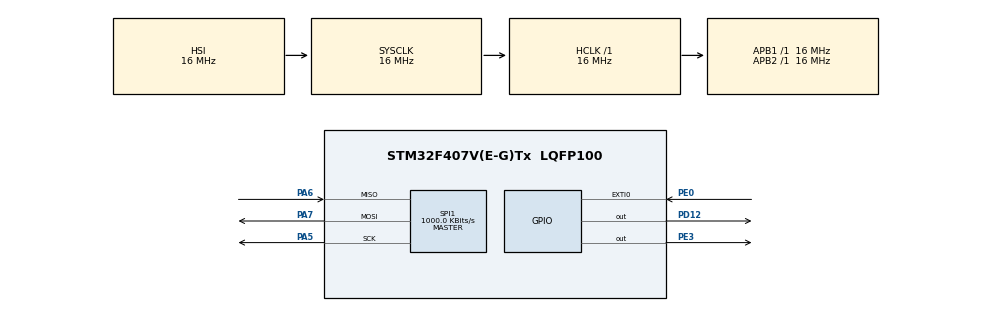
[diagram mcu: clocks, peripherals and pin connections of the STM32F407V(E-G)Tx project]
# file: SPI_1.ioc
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Mcu.Family=STM32F4
Mcu.Name=STM32F407V(E-G)Tx
Mcu.Package=LQFP100
NVIC.PriorityGroup=NVIC_PRIORITYGROUP_0
NVIC.SPI1_IRQn=true\:0\:0\:false\:false\:true\:true\:true\:true
PA5.Mode=Full_Duplex_Master
PA5.Signal=SPI1_SCK
PA6.Mode=Full_Duplex_Master
PA6.Signal=SPI1_MISO
PA7.Mode=Full_Duplex_Master
PA7.Signal=SPI1_MOSI
PD12.Signal=GPIO_Output
PE0.Signal=GPXTI0
PE3.Signal=GPIO_Output
ProjectManager.HeapSize=0x200
ProjectManager.StackSize=0x400
ProjectManager.TargetToolchain=MDK-ARM V5.32
RCC.48MHZClocksFreq_Value=14285714.285714285
RCC.AHBFreq_Value=16000000
RCC.APB1Freq_Value=16000000
RCC.APB1TimFreq_Value=16000000
RCC.APB2Freq_Value=16000000
RCC.APB2TimFreq_Value=16000000
RCC.CortexFreq_Value=16000000
RCC.HCLKFreq_Value=16000000
RCC.HSE_VALUE=8000000
RCC.HSI_VALUE=16000000
RCC.PLLM=8
RCC.PLLN=50
RCC.PLLP=RCC_PLLP_DIV4
RCC.PLLQ=7
RCC.SYSCLKFreq_VALUE=16000000
RCC.VCOOutputFreq_Value=100000000
SPI1.BaudRatePrescaler=SPI_BAUDRATEPRESCALER_16
SPI1.CalculateBaudRate=1000.0 KBits/s
SPI1.Direction=SPI_DIRECTION_2LINES
SPI1.Mode=SPI_MODE_MASTER
SPI1.VirtualType=VM_MASTER
board=STM32F407G-DISC1

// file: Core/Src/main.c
/* USER CODE BEGIN Header */
/**
  ******************************************************************************
  * @file           : main.c
  * @brief          : Main program body
  ******************************************************************************
  * @attention
  *
  * Copyright (c) 2024 STMicroelectronics.
  * All rights reserved.
  *
  * This software is licensed under terms that can be found in the LICENSE file
  * in the root directory of this software component.
  * If no LICENSE file comes with this software, it is provided AS-IS.
  *
  ******************************************************************************
  */
/* USER CODE END Header */
#include "main.h"

SPI_HandleTypeDef hspi1;

void SystemClock_Config(void);
static void MX_GPIO_Init(void);
static void MX_SPI1_Init(void);

/* USER CODE BEGIN 0 */
uint8_t spiTxBuf[2], spiRxBuf[2];
/* USER CODE END 0 */

int main(void)
{

  /* MCU Configuration--------------------------------------------------------*/

  /* Reset of all peripherals, Initializes the Flash interface and the Systick. */
  HAL_Init();

  /* Configure the system clock */
  SystemClock_Config();

  /* Initialize all configured peripherals */
  MX_GPIO_Init();
  MX_SPI1_Init();
  /* USER CODE BEGIN 2 */
	HAL_GPIO_WritePin(GPIOE,GPIO_PIN_3,GPIO_PIN_RESET);
	spiTxBuf[0] = 0x20;
	spiTxBuf[1] = 0x31;
	HAL_SPI_Transmit(&hspi1, spiTxBuf, 2, 50);
	HAL_GPIO_WritePin(GPIOE,GPIO_PIN_3,GPIO_PIN_SET);

	HAL_GPIO_WritePin(GPIOE,GPIO_PIN_3,GPIO_PIN_RESET);
	spiTxBuf[0] = 0x20|0x80;
	HAL_SPI_Transmit(&hspi1, spiTxBuf, 1, 50);
	HAL_SPI_Receive(&hspi1,spiRxBuf, 1, 50);
	HAL_GPIO_WritePin(GPIOE,GPIO_PIN_3,GPIO_PIN_SET);

	HAL_GPIO_WritePin(GPIOE,GPIO_PIN_3,GPIO_PIN_RESET);
	spiTxBuf[0] = 0x23;
	spiTxBuf[1] = 0xC8;
	HAL_SPI_Transmit(&hspi1, spiTxBuf, 2, 50);
	HAL_GPIO_WritePin(GPIOE,GPIO_PIN_3,GPIO_PIN_SET);

  /* USER CODE END 2 */

  /* Infinite loop */
  while (1)
  {

  }
}

void SystemClock_Config(void)
{
  RCC_OscInitTypeDef RCC_OscInitStruct = {0};
  RCC_ClkInitTypeDef RCC_ClkInitStruct = {0};

  /** Configure the main internal regulator output voltage
  */
  __HAL_RCC_PWR_CLK_ENABLE();
  __HAL_PWR_VOLTAGESCALING_CONFIG(PWR_REGULATOR_VOLTAGE_SCALE1);

  /** Initializes the RCC Oscillators according to the specified parameters
  * in the RCC_OscInitTypeDef structure.
  */
  RCC_OscInitStruct.OscillatorType = RCC_OSCILLATORTYPE_HSI;
  RCC_OscInitStruct.HSIState = RCC_HSI_ON;
  RCC_OscInitStruct.HSICalibrationValue = RCC_HSICALIBRATION_DEFAULT;
  RCC_OscInitStruct.PLL.PLLState = RCC_PLL_NONE;
  if (HAL_RCC_OscConfig(&RCC_OscInitStruct) != HAL_OK)
  {
    Error_Handler();
  }

  /** Initializes the CPU, AHB and APB buses clocks
  */
  RCC_ClkInitStruct.ClockType = RCC_CLOCKTYPE_HCLK|RCC_CLOCKTYPE_SYSCLK
                              |RCC_CLOCKTYPE_PCLK1|RCC_CLOCKTYPE_PCLK2;
  RCC_ClkInitStruct.SYSCLKSource = RCC_SYSCLKSOURCE_HSI;
  RCC_ClkInitStruct.AHBCLKDivider = RCC_SYSCLK_DIV1;
  RCC_ClkInitStruct.APB1CLKDivider = RCC_HCLK_DIV1;
  RCC_ClkInitStruct.APB2CLKDivider = RCC_HCLK_DIV1;

  if (HAL_RCC_ClockConfig(&RCC_ClkInitStruct, FLASH_LATENCY_0) != HAL_OK)
  {
    Error_Handler();
  }
}

static void MX_SPI1_Init(void)
{

  /* SPI1 parameter configuration*/
  hspi1.Instance = SPI1;
  hspi1.Init.Mode = SPI_MODE_MASTER;
  hspi1.Init.Direction = SPI_DIRECTION_2LINES;
  hspi1.Init.DataSize = SPI_DATASIZE_8BIT;
  hspi1.Init.CLKPolarity = SPI_POLARITY_LOW;
  hspi1.Init.CLKPhase = SPI_PHASE_1EDGE;
  hspi1.Init.NSS = SPI_NSS_SOFT;
  hspi1.Init.BaudRatePrescaler = SPI_BAUDRATEPRESCALER_16;
  hspi1.Init.FirstBit = SPI_FIRSTBIT_MSB;
  hspi1.Init.TIMode = SPI_TIMODE_DISABLE;
  hspi1.Init.CRCCalculation = SPI_CRCCALCULATION_DISABLE;
  hspi1.Init.CRCPolynomial = 10;
  if (HAL_SPI_Init(&hspi1) != HAL_OK)
  {
    Error_Handler();
  }

}

static void MX_GPIO_Init(void)
{
  GPIO_InitTypeDef GPIO_InitStruct = {0};

  /* GPIO Ports Clock Enable */
  __HAL_RCC_GPIOE_CLK_ENABLE();
  __HAL_RCC_GPIOA_CLK_ENABLE();
  __HAL_RCC_GPIOD_CLK_ENABLE();

  /*Configure GPIO pin Output Level */
  HAL_GPIO_WritePin(GPIOE, GPIO_PIN_3, GPIO_PIN_RESET);

  /*Configure GPIO pin Output Level */
  HAL_GPIO_WritePin(GPIOD, GPIO_PIN_12, GPIO_PIN_RESET);

  /*Configure GPIO pin : PE3 */
  GPIO_InitStruct.Pin = GPIO_PIN_3;
  GPIO_InitStruct.Mode = GPIO_MODE_OUTPUT_PP;
  GPIO_InitStruct.Pull = GPIO_NOPULL;
  GPIO_InitStruct.Speed = GPIO_SPEED_FREQ_LOW;
  HAL_GPIO_Init(GPIOE, &GPIO_InitStruct);

  /*Configure GPIO pin : PD12 */
  GPIO_InitStruct.Pin = GPIO_PIN_12;
  GPIO_InitStruct.Mode = GPIO_MODE_OUTPUT_PP;
  GPIO_InitStruct.Pull = GPIO_NOPULL;
  GPIO_InitStruct.Speed = GPIO_SPEED_FREQ_LOW;
  HAL_GPIO_Init(GPIOD, &GPIO_InitStruct);

  /*Configure GPIO pin : PE0 */
  GPIO_InitStruct.Pin = GPIO_PIN_0;
  GPIO_InitStruct.Mode = GPIO_MODE_IT_RISING;
  GPIO_InitStruct.Pull = GPIO_NOPULL;
  HAL_GPIO_Init(GPIOE, &GPIO_InitStruct);

}

/* USER CODE BEGIN 4 */

void HAL_GPIO_EXTI_Callback(uint16_t GPIO_Pin)
{
  /* Prevent unused argument(s) compilation warning */
  UNUSED(GPIO_Pin);
  /* NOTE: This function Should not be modified, when the callback is needed,
           the HAL_GPIO_EXTI_Callback could be implemented in the user file
   */

	HAL_GPIO_WritePin(GPIOE,GPIO_PIN_3,GPIO_PIN_RESET);
	spiTxBuf[0] = 0x29|0x80;
	HAL_SPI_Transmit(&hspi1, spiTxBuf, 1, 50);
	HAL_SPI_Receive(&hspi1,spiRxBuf, 1, 50);
	HAL_GPIO_WritePin(GPIOE,GPIO_PIN_3,GPIO_PIN_SET);

	HAL_GPIO_TogglePin(GPIOD, GPIO_PIN_12);
}

/* USER CODE END 4 */

void Error_Handler(void)
{
  __disable_irq();
  while (1)
  {
  }
}
